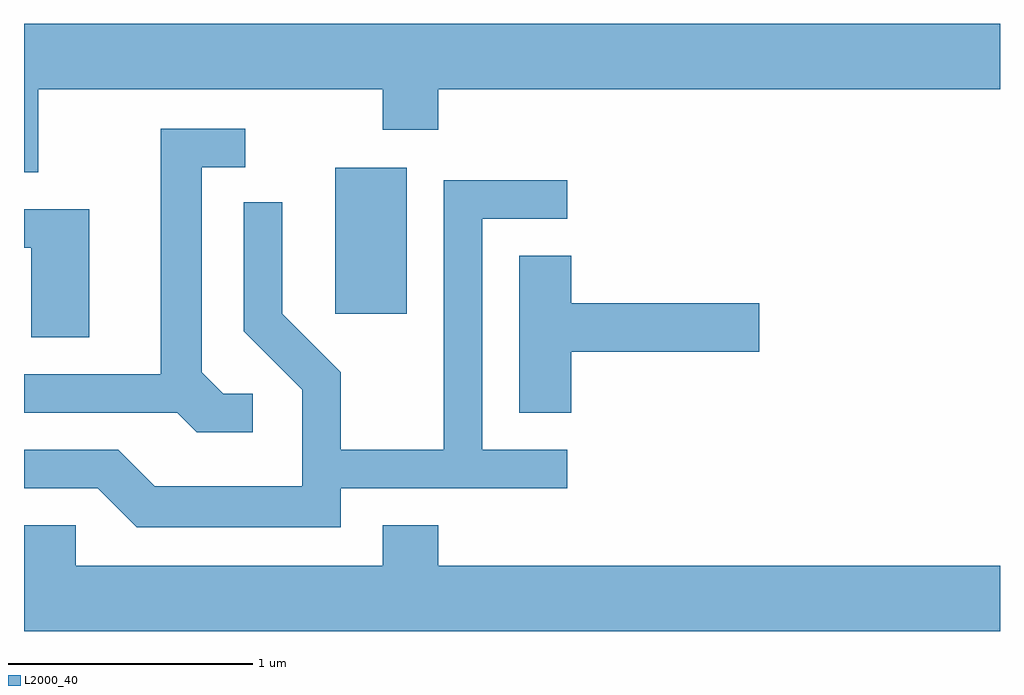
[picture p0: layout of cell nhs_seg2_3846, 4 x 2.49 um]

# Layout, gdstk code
import gdstk
lib = gdstk.Library(unit=1e-6, precision=1e-09)
def R(c, l, rs):  # rectangles x0, y0, x1, y1
    for r in rs: c.add(gdstk.rectangle(r[:2], r[2:], *l))
def P(c, l, *ps):  # polygons
    for p in ps: c.add(gdstk.Polygon(p, *l))
L2000_40 = (2000, 40)

nhs_seg2_3846 = lib.new_cell('nhs_seg2_3846')
R(nhs_seg2_3846, L2000_40, [(298.886,1076.256,299.179,1076.854)])
P(nhs_seg2_3846, L2000_40, [(297.669,1077.176),(299.081,1077.176),(299.081,1077.011),(299.309,1077.011),(299.309,1077.176),(301.611,1077.176),(301.611,1077.444),(297.611,1077.444),(297.611,1076.836),(297.669,1076.836)],
  [(298.548,1075.929),(298.427,1075.929),(298.339,1076.017),(298.339,1076.856),(298.518,1076.856),(298.518,1077.014),(298.171,1077.014),(298.171,1076.009),(297.611,1076.009),(297.611,1075.851),(298.239,1075.851),(298.319,1075.771),(298.548,1075.771)],
  [(298.909,1075.541),(299.838,1075.541),(299.838,1075.699),(299.489,1075.699),(299.489,1076.646),(299.838,1076.646),(299.838,1076.804),(299.331,1076.804),(299.331,1075.699),(298.909,1075.699),(298.909,1076.017),(298.669,1076.257),(298.669,1076.713),(298.511,1076.713),(298.511,1076.184),(298.751,1075.944),(298.751,1075.549),(298.147,1075.549),(297.997,1075.699),(297.611,1075.699),(297.611,1075.541),(297.914,1075.541),(298.074,1075.381),(298.909,1075.381)],
  [(297.879,1076.684),(297.611,1076.684),(297.611,1076.526),(297.641,1076.526),(297.641,1076.161),(297.879,1076.161)],
  [(299.854,1076.101),(300.624,1076.101),(300.624,1076.299),(299.854,1076.299),(299.854,1076.494),(299.641,1076.494),(299.641,1075.851),(299.854,1075.851)],
  [(301.611,1075.224),(299.309,1075.224),(299.309,1075.389),(299.081,1075.389),(299.081,1075.224),(297.824,1075.224),(297.824,1075.389),(297.611,1075.389),(297.611,1074.956),(301.611,1074.956)])

lib.write_gds('nhs_seg2_3846.gds')
